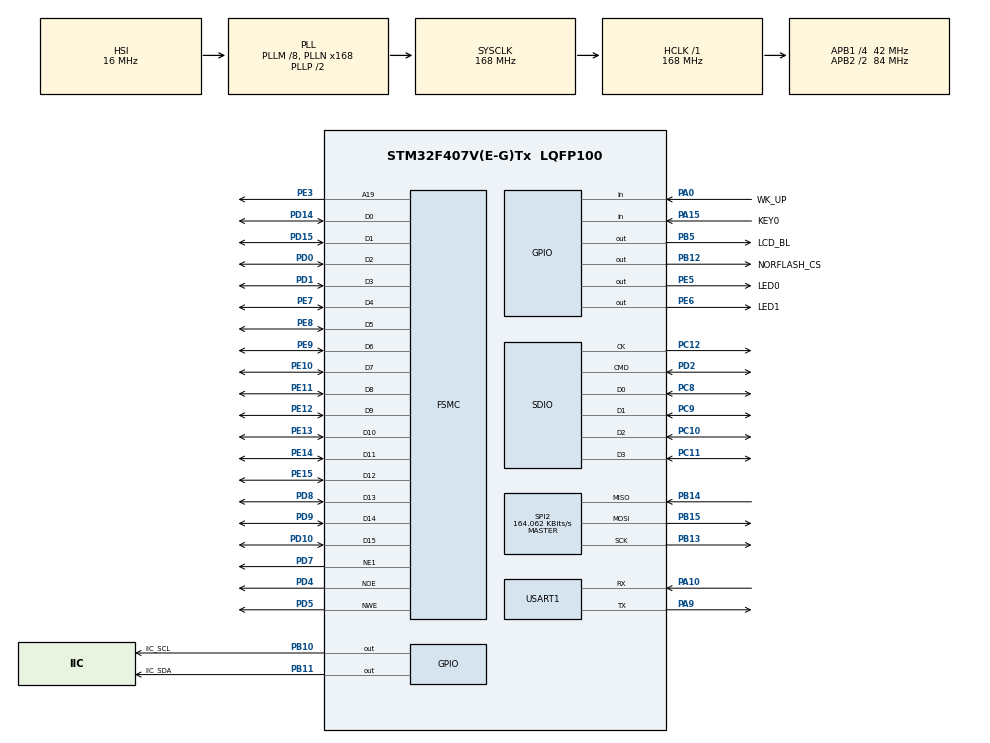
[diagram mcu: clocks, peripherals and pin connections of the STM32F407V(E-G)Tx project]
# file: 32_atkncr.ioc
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FATFS._CODE_PAGE=437
FATFS._USE_LABEL=1
FATFS._USE_LFN=3
FSMC.AddressSetupTime1=15
FSMC.BusTurnAroundDuration1=0
FSMC.DataSetupTime1=60
FSMC.ExtendedAddressSetupTime1=9
FSMC.ExtendedDataSetupTime1=9
FSMC.ExtendedMode1=FSMC_EXTENDED_MODE_ENABLE
Mcu.Family=STM32F4
Mcu.Name=STM32F407V(E-G)Tx
Mcu.Package=LQFP100
NVIC.PriorityGroup=NVIC_PRIORITYGROUP_2
NVIC.TIM4_IRQn=true\:2\:1\:true\:false\:true\:true\:true\:true
NVIC.USART1_IRQn=true\:2\:2\:true\:false\:true\:true\:true\:true
PA0-WKUP.GPIO_Label=WK_UP
PA0-WKUP.GPIO_PuPd=GPIO_PULLDOWN
PA0-WKUP.Signal=GPIO_Input
PA10.Mode=Asynchronous
PA10.Signal=USART1_RX
PA13.Mode=Serial_Wire
PA13.Signal=SYS_JTMS-SWDIO
PA14.Mode=Serial_Wire
PA14.Signal=SYS_JTCK-SWCLK
PA15.GPIO_Label=KEY0
PA15.GPIO_PuPd=GPIO_PULLDOWN
PA15.Signal=GPIO_Input
PA9.Mode=Asynchronous
PA9.Signal=USART1_TX
PB10.GPIO_Label=IIC_SCL
PB10.GPIO_ModeDefaultOutputPP=GPIO_MODE_OUTPUT_OD
PB10.GPIO_PuPd=GPIO_NOPULL
PB10.GPIO_Speed=GPIO_SPEED_FREQ_VERY_HIGH
PB10.PinState=GPIO_PIN_SET
PB10.Signal=GPIO_Output
PB11.GPIO_Label=IIC_SDA
PB11.GPIO_ModeDefaultOutputPP=GPIO_MODE_OUTPUT_OD
PB11.GPIO_PuPd=GPIO_NOPULL
PB11.GPIO_Speed=GPIO_SPEED_FREQ_VERY_HIGH
PB11.PinState=GPIO_PIN_SET
PB11.Signal=GPIO_Output
PB12.GPIO_Label=NORFLASH_CS
PB12.GPIO_PuPd=GPIO_PULLUP
PB12.GPIO_Speed=GPIO_SPEED_FREQ_HIGH
PB12.PinState=GPIO_PIN_SET
PB12.Signal=GPIO_Output
PB13.Mode=Full_Duplex_Master
PB13.Signal=SPI2_SCK
PB14.Mode=Full_Duplex_Master
PB14.Signal=SPI2_MISO
PB15.Mode=Full_Duplex_Master
PB15.Signal=SPI2_MOSI
PB5.GPIO_Label=LCD_BL
PB5.GPIO_PuPd=GPIO_PULLUP
PB5.GPIO_Speed=GPIO_SPEED_FREQ_HIGH
PB5.PinState=GPIO_PIN_SET
PB5.Signal=GPIO_Output
PC10.Mode=SD_4_bits_Wide_bus
PC10.Signal=SDIO_D2
PC11.Mode=SD_4_bits_Wide_bus
PC11.Signal=SDIO_D3
PC12.Mode=SD_4_bits_Wide_bus
PC12.Signal=SDIO_CK
PC14-OSC32_IN.Mode=LSE-External-Oscillator
PC14-OSC32_IN.Signal=RCC_OSC32_IN
PC15-OSC32_OUT.Mode=LSE-External-Oscillator
PC15-OSC32_OUT.Signal=RCC_OSC32_OUT
PC8.Mode=SD_4_bits_Wide_bus
PC8.Signal=SDIO_D0
PC9.Mode=SD_4_bits_Wide_bus
PC9.Signal=SDIO_D1
PD0.Mode=16b-d1
PD0.Signal=FSMC_D2
PD1.Mode=16b-d1
PD1.Signal=FSMC_D3
PD10.Mode=16b-d1
PD10.Signal=FSMC_D15
PD14.Mode=16b-d1
PD14.Signal=FSMC_D0
PD15.Mode=16b-d1
PD15.Signal=FSMC_D1
PD2.Mode=SD_4_bits_Wide_bus
PD2.Signal=SDIO_CMD
PD4.Mode=Lcd1
PD4.Signal=FSMC_NOE
PD5.Mode=Lcd1
PD5.Signal=FSMC_NWE
PD7.Mode=NorPsramChipSelect1_1
PD7.Signal=FSMC_NE1
PD8.Mode=16b-d1
PD8.Signal=FSMC_D13
PD9.Mode=16b-d1
PD9.Signal=FSMC_D14
PE10.Mode=16b-d1
PE10.Signal=FSMC_D7
PE11.Mode=16b-d1
PE11.Signal=FSMC_D8
PE12.Mode=16b-d1
PE12.Signal=FSMC_D9
PE13.Mode=16b-d1
PE13.Signal=FSMC_D10
PE14.Mode=16b-d1
PE14.Signal=FSMC_D11
PE15.Mode=16b-d1
PE15.Signal=FSMC_D12
PE3.Mode=A19_1
PE3.Signal=FSMC_A19
PE5.GPIO_Label=LED0
PE5.GPIO_PuPd=GPIO_PULLUP
PE5.GPIO_Speed=GPIO_SPEED_FREQ_HIGH
PE5.PinState=GPIO_PIN_SET
PE5.Signal=GPIO_Output
PE6.GPIO_Label=LED1
PE6.GPIO_PuPd=GPIO_PULLUP
PE6.GPIO_Speed=GPIO_SPEED_FREQ_HIGH
PE6.PinState=GPIO_PIN_SET
PE6.Signal=GPIO_Output
PE7.Mode=16b-d1
PE7.Signal=FSMC_D4
PE8.Mode=16b-d1
PE8.Signal=FSMC_D5
PE9.Mode=16b-d1
PE9.Signal=FSMC_D6
PH0-OSC_IN.Mode=HSE-External-Oscillator
PH0-OSC_IN.Signal=RCC_OSC_IN
PH1-OSC_OUT.Mode=HSE-External-Oscillator
PH1-OSC_OUT.Signal=RCC_OSC_OUT
ProjectManager.HeapSize=0x1000
ProjectManager.StackSize=0x400
ProjectManager.TargetToolchain=STM32CubeIDE
RCC.48MHZClocksFreq_Value=48000000
RCC.AHBFreq_Value=168000000
RCC.APB1CLKDivider=RCC_HCLK_DIV4
RCC.APB1Freq_Value=42000000
RCC.APB1TimFreq_Value=84000000
RCC.APB2CLKDivider=RCC_HCLK_DIV2
RCC.APB2Freq_Value=84000000
RCC.APB2TimFreq_Value=168000000
RCC.CortexFreq_Value=168000000
RCC.HCLKFreq_Value=168000000
RCC.HSE_VALUE=25000000
RCC.HSI_VALUE=16000000
RCC.PLLM=8
RCC.PLLN=168
RCC.PLLQ=7
RCC.SYSCLKFreq_VALUE=168000000
RCC.SYSCLKSource=RCC_SYSCLKSOURCE_PLLCLK
RCC.VCOOutputFreq_Value=336000000
SDIO.ClockDiv=0x06
SDIO.HardwareFlowControl=SDIO_HARDWARE_FLOW_CONTROL_ENABLE
SPI2.BaudRatePrescaler=SPI_BAUDRATEPRESCALER_256
SPI2.CLKPhase=SPI_PHASE_2EDGE
SPI2.CLKPolarity=SPI_POLARITY_HIGH
SPI2.CalculateBaudRate=164.062 KBits/s
SPI2.Direction=SPI_DIRECTION_2LINES
SPI2.Mode=SPI_MODE_MASTER
SPI2.VirtualType=VM_MASTER
TIM4.AutoReloadPreload=TIM_AUTORELOAD_PRELOAD_ENABLE
TIM4.Period=1000
TIM4.Prescaler=8400-1
USART1.VirtualMode=VM_ASYNC
VP_FATFS_VS_Generic.Mode=User_defined
VP_TIM4_VS_ClockSourceINT.Mode=Internal
board=custom

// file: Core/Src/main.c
/**
 ****************************************************************************************************
 * @file        main.c
 * @author      ALIENTEK
 * @brief       atkncr code
 * @license     Copyright (C) 2012-2024, ALIENTEK
 ****************************************************************************************************
 * @attention
 *
 * platform     : ALIENTEK M100-STM32F407 board
 * website      : www.alientek.com
 * forum        : www.openedv.com/forum.php
 *
 * change logs  :
 * version      data         notes
 * V1.0         20240409     the first version
 *
 ****************************************************************************************************
 */

/* USER CODE BEGIN Header */

/* USER CODE END Header */
#include "main.h"
#include "fatfs.h"
#include "sdio.h"
#include "spi.h"
#include "tim.h"
#include "usart.h"
#include "gpio.h"
#include "fsmc.h"

/* USER CODE BEGIN Includes */
#include "../../ATK_Middlewares/ATKNCR/atk_ncr.h"
#include "../../ATK_Middlewares/MALLOC/malloc.h"
#include "../../BSP/IIC/myiic.h"
#include "../../BSP/24CXX/24cxx.h"
#include "../../BSP/LED/led.h"
#include "../../BSP/KEY/key.h"
#include "../../BSP/LCD/lcd.h"
#include "../../FatFs/exfuns/exfuns.h"
#include "../../FatFs/exfuns/fattester.h"
#include "ff.h"
#include "../../BSP/DELAY/delay.h"
#include "../../BSP/TOUCH/touch.h"
/* USER CODE END Includes */

/* USER CODE BEGIN PTD */

/* Handwritten track record */
static atk_ncr_point ncr_input_buf[200];

/* USER CODE END PTD */

/* USER CODE BEGIN PD */

/**
 * @brief   Displays information about the experiment
 * @param   None
 * @retval  None
 */
void stm32f407vg_show_mesg(void)
{
	/* The serial port outputs the experimental information */
	printf("\n");
	printf("********************************\r\n");
	printf("STM32F407\r\n");
	printf("FATFS Test\r\n");
	printf("ATOM@ALIENTEK\r\n");
	printf("********************************\r\n");
	printf("\r\n");
}

/* USER CODE END PD */

void SystemClock_Config(void);

/* USER CODE BEGIN 0 */

/**
 * @brief   Draw a thick line
 * @param   x1: Starting X coordinate
 * @param   y1: Starting Y coordinate
 * @param   x2: Ending X coordinate
 * @param   y2: Ending Y coordinate
 * @param   size: Thickness of the line
 * @param   color: Color of the line
 * @retval  None
 */
static void lcd_draw_bline(uint16_t x1, uint16_t y1, uint16_t x2, uint16_t y2, uint8_t size, uint16_t color)
{
    uint16_t t;
    int xerr = 0;
    int yerr = 0;
    int delta_x;
    int delta_y;
    int distance;
    int incx;
    int incy;
    int row;
    int col;

    if ((x1 < size) || (x2 < size) || (y1 < size) || (y2 < size))
    {
        return;
    }

    /* Calculate coordinate increments */
    delta_x = x2 - x1;
    delta_y = y2 - y1;
    row = x1;
    col = y1;

    /* Set the direction for horizontal single steps */
    if (delta_x > 0)
    {

        incx = 1;
    }
    else if (delta_x == 0)
    {
        incx = 0;
    }
    else
    {
        incx = -1;
        delta_x = -delta_x;
    }

    /* Set the direction for vertical single steps */
    if (delta_y > 0)
    {
        incy = 1;
    }
    else if (delta_y == 0)
    {
        incy = 0;
    }
    else
    {
        incy = -1;
        delta_y = -delta_y;
    }

    /* Choose the primary increment axis for coordinates */
    if (delta_x > delta_y)
    {
        distance = delta_x;
    }
    else
    {
        distance = delta_y;
    }

    /* Draw a line */
    for (t=0; t<=(distance + 1); t++)
    {
        lcd_fill_circle(row, col, size, color);
        xerr += delta_x;
        yerr += delta_y;

        if (xerr > distance)
        {
            xerr -= distance;
            row += incx;
        }

        if (yerr > distance)
        {
            yerr -= distance;
            col += incy;
        }
    }
}

/* USER CODE END 0 */

int main(void)
{
  /* USER CODE BEGIN 1 */
    uint32_t t = 0;
    uint8_t tcnt;
    uint8_t key;
    uint8_t mode = 4;
    uint16_t lastpos[2];
    uint16_t pcnt = 0;
    char sbuf[10];
  /* USER CODE END 1 */

  /* MCU Configuration--------------------------------------------------------*/

  /* Reset of all peripherals, Initializes the Flash interface and the Systick. */
  HAL_Init();

  /* Configure the system clock */
  SystemClock_Config();

  /* Initialize all configured peripherals */
  MX_GPIO_Init();
  MX_USART1_UART_Init();
  MX_FSMC_Init();
  MX_TIM4_Init();
  MX_SDIO_SD_Init();
  MX_SPI2_Init();
  MX_FATFS_Init();
  /* USER CODE BEGIN 2 */
  lcd_init();                         /* Initialize LCD */
  tp_dev.init();                      /* 初始化触摸屏 */
  my_mem_init(SRAMIN);                /* Initialize the internal SRAM memory pool */
  my_mem_init(SRAMCCM);               /* Initialize the CCM memory pool */
  exfuns_init();                      /* Request memory for exfuns */
  alientek_ncr_init();                /* Initialize handwriting recognition */
  stm32f407vg_show_mesg();

  f_mount(fs[0], "0:", 1);            /* mount SD card */
  f_mount(fs[1], "1:", 1);            /* mount NOR Flash */

  RESTART:
    lcd_show_string(30, 10, 200, 16, 16, "STM32", RED);
    lcd_show_string(30, 30, 200, 16, 16, "ATKNCR TEST", RED);
    lcd_show_string(30, 50, 200, 16, 16, "ATOM@ALIENTEK", RED);
    lcd_show_string(30, 70, 200, 16, 16, "WKUP: Adjust KEY0: Mode", RED);
    lcd_show_string(30, 90, 200, 16, 16, "Identify the result:", RED);

    lcd_draw_rectangle(19, 110, lcddev.width - 20, lcddev.height - 5, RED);
    lcd_show_string(96, 130, 200, 16, 16, "Handwriting area", BLUE);
    tcnt = 100;
    /* USER CODE END 2 */

    /* Infinite loop */
    /* USER CODE BEGIN WHILE */
    while (1)
    {
  	  key = key_scan(0);
  	  if (key == WKUP_PRES)
  	  {
  	      /* Touch calibration of capacitive screen */
  	      if ((tp_dev.touchtype & 0x80) == 0)
  	      {
  	         tp_adjust();
  	         goto RESTART;
  	      }
  	  }
  	  else if (key == KEY0_PRES)
  	  {
  	      /* Switch recognition mode */
  	      lcd_fill(20, 115, 219, 315, WHITE);
  	      tcnt = 100;
  	      if (++mode > 4)
  	      {
  	         mode = 1;
  	      }

  	      if (mode == 1)
  	      {
  	    	  lcd_show_string(80, 207, 200, 16, 16, "Recognize digits only", BLUE);
  	      }
  	      else if (mode == 2)
  	      {
  	    	  lcd_show_string(64, 207, 200, 16, 16, "Recognize capital letters only", BLUE);
  	      }
  	      else if (mode == 3)
  	      {
  	    	  lcd_show_string(64, 207, 200, 16, 16, "Lowercase letters only", BLUE);
  	      }
  	      else if (mode == 4)
  	      {
  	    	  lcd_show_string(88, 207, 200, 16, 16, "All recognition", BLUE);
  	      }
  	  }

  	  tp_dev.scan(0);
  	  if (tp_dev.sta & TP_PRES_DOWN)
  	  {
  	      /* There are touches, and the touch trace is displayed and recorded */
  	      tcnt = 0;

  	      if (((tp_dev.x[0] < (lcddev.width - 20 - 2)) && (tp_dev.x[0] >= (20 + 2))) &&
  	           ((tp_dev.y[0] < (lcddev.height - 5 - 2)) && (tp_dev.y[0] >= (115 + 2))))
  	      {
  	          if (lastpos[0] == 0xFFFF)
  	          {
  	              lastpos[0] = tp_dev.x[0];
  	              lastpos[1] = tp_dev.y[0];
  	          }

  	          lcd_draw_bline(lastpos[0], lastpos[1], tp_dev.x[0], tp_dev.y[0], 2, BLUE);
  	          lastpos[0] = tp_dev.x[0];
  	          lastpos[1] = tp_dev.y[0];
  	          if (pcnt < 200)
  	          {
  	              if (pcnt != 0)
  	              {
  	                  if ((ncr_input_buf[pcnt - 1].y != tp_dev.y[0]) &&
  	                      (ncr_input_buf[pcnt - 1].x != tp_dev.x[0]))
  	                  {
  	                      ncr_input_buf[pcnt].x = tp_dev.x[0];
  	                      ncr_input_buf[pcnt].y = tp_dev.y[0];
  	                      pcnt++;
  	                  }
  	              }
  	              else
  	              {
  	                  ncr_input_buf[pcnt].x = tp_dev.x[0];
  	                  ncr_input_buf[pcnt].y = tp_dev.y[0];
  	                  pcnt++;
  	              }
  	          }
  	      }
  	   }
  	   else
  	   {
  	       /* The touch is released for handwriting recognition */
  	       lastpos[0] = 0xFFFF;
  	       tcnt++;
  	       if (tcnt == 40)
  	       {
  	          if (pcnt != 0)
  	          {
  	              printf("Total points:%d\r\n", pcnt);
  	              alientek_ncr(ncr_input_buf, pcnt, 6, mode, sbuf);
  	              printf("identify the result:%s\r\n", sbuf);
  	              pcnt = 0;
  	               lcd_show_string(60 + 72, 90, 200, 16, 16, sbuf, BLUE);
  	           }
  	           lcd_fill(20, 115, lcddev.width - 20 - 1, lcddev.height - 5 - 1, WHITE);
  	       }
  	    }

  	t++;
  	if (t % 20 == 0)
  	{
  	   LED0_TOGGLE(); /* flashing LED0 indicates that the system is running */
  	}

  	HAL_Delay(10);    /* delay 10ms */
    /* USER CODE END WHILE */

  }
}

void SystemClock_Config(void)
{
  RCC_OscInitTypeDef RCC_OscInitStruct = {0};
  RCC_ClkInitTypeDef RCC_ClkInitStruct = {0};

  /** Configure the main internal regulator output voltage
  */
  __HAL_RCC_PWR_CLK_ENABLE();
  __HAL_PWR_VOLTAGESCALING_CONFIG(PWR_REGULATOR_VOLTAGE_SCALE1);

  /** Initializes the RCC Oscillators according to the specified parameters
  * in the RCC_OscInitTypeDef structure.
  */
  RCC_OscInitStruct.OscillatorType = RCC_OSCILLATORTYPE_HSI;
  RCC_OscInitStruct.HSIState = RCC_HSI_ON;
  RCC_OscInitStruct.HSICalibrationValue = RCC_HSICALIBRATION_DEFAULT;
  RCC_OscInitStruct.PLL.PLLState = RCC_PLL_ON;
  RCC_OscInitStruct.PLL.PLLSource = RCC_PLLSOURCE_HSI;
  RCC_OscInitStruct.PLL.PLLM = 8;
  RCC_OscInitStruct.PLL.PLLN = 168;
  RCC_OscInitStruct.PLL.PLLP = RCC_PLLP_DIV2;
  RCC_OscInitStruct.PLL.PLLQ = 7;
  if (HAL_RCC_OscConfig(&RCC_OscInitStruct) != HAL_OK)
  {
    Error_Handler();
  }

  /** Initializes the CPU, AHB and APB buses clocks
  */
  RCC_ClkInitStruct.ClockType = RCC_CLOCKTYPE_HCLK|RCC_CLOCKTYPE_SYSCLK
                              |RCC_CLOCKTYPE_PCLK1|RCC_CLOCKTYPE_PCLK2;
  RCC_ClkInitStruct.SYSCLKSource = RCC_SYSCLKSOURCE_PLLCLK;
  RCC_ClkInitStruct.AHBCLKDivider = RCC_SYSCLK_DIV1;
  RCC_ClkInitStruct.APB1CLKDivider = RCC_HCLK_DIV4;
  RCC_ClkInitStruct.APB2CLKDivider = RCC_HCLK_DIV2;

  if (HAL_RCC_ClockConfig(&RCC_ClkInitStruct, FLASH_LATENCY_5) != HAL_OK)
  {
    Error_Handler();
  }
}

void Error_Handler(void)
{
  __disable_irq();
  while (1)
  {
  }
}
